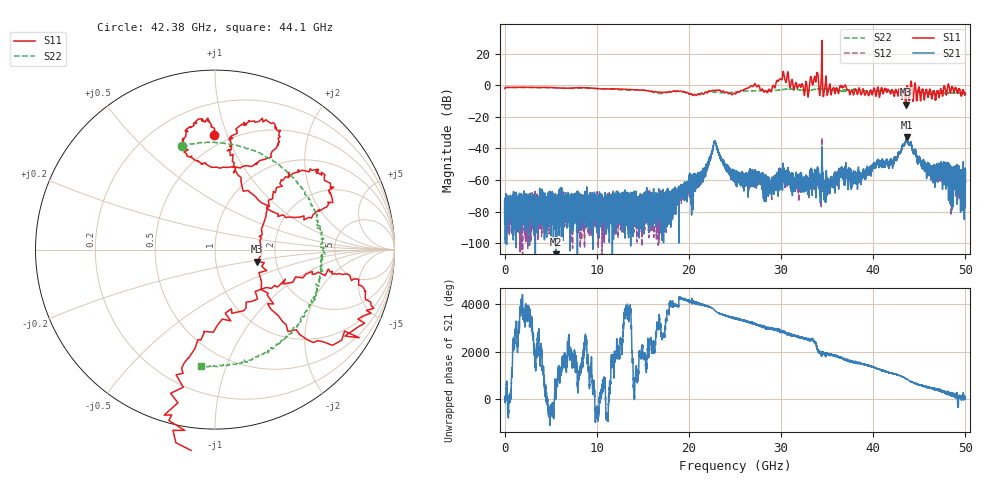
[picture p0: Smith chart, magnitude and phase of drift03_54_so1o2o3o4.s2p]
!Created with skrf (http://scikit-rf.org).
# Hz S RI R 50.0
!freq ReS11 ImS11 ReS21 ImS21 ReS12 ImS12 ReS22 ImS22
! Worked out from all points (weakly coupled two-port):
!   10000 points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, 5.3 MHz to 50 GHz, reference 50 ohm
!   highest |S21| = -32.92 dB at 43.67 GHz (marker M1); lowest = -116.0 dB at 5.555 GHz (marker M2)
!   lowest |S11| = -12.2 dB at 43.53 GHz (marker M3), VSWR 1.65, Z = 79.8 - j11.3 ohm
!   |S11| at or under -10 dB: 43.48394 GHz to 43.55513 GHz (71.2 MHz wide, 0.164 % of centre); 44.31134 GHz to 44.31605 GHz (4.708 MHz wide, 0.0106 % of centre)
!   |S22| runs from -5.9 to -1.3 dB; largest |S21 - S12| = 0.013
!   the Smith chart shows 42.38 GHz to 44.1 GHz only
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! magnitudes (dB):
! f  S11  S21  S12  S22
! 5.3 MHz  -2.1  -74.6  -79.1  -2.1
! 5.555 GHz  -1.6  -116.0  -79.3  -1.7
! 8.34 GHz  -1.5  -74.4  -79.0  -1.9
! 16.67 GHz  -4.4  -69.8  -75.6  -5.2
! 21.22 GHz  -5.9  -57.4  -59.6  -5.3
! 22.82 GHz  -3.4  -35.3  -35.4  -4.5
! 23.9 GHz  -4.7  -50.3  -51.7  -4.8
! 25.01 GHz  -5.5  -55.9  -60.0  -4.3
! 27.02 GHz  -0.4  -59.9  -59.0  -3.5
! 28.76 GHz  -2.6  -67.3  -63.5  -3.5
! 30.14 GHz  4.4  -56.9  -58.9  -2.8
! 32.74 GHz  2.0  -59.2  -59.0  -3.3
! 33.34 GHz  2.7  -60.1  -58.6  -2.9
! 33.82 GHz  4.0  -58.7  -59.5  -2.6
! 34.92 GHz  2.5  -53.9  -60.0  -2.3
! 36.5 GHz  -0.3  -52.7  -54.4  -3.8
! 38.5 GHz  -2.0  -56.3  -57.4  -3.1
! 41.67 GHz  -2.9  -51.9  -50.0  -3.7
! 43.53 GHz  -12.2  -35.4  -35.3  -4.1
! 43.67 GHz  -1.2  -32.9  -33.7  -4.1
! 46.45 GHz  -5.8  -51.2  -54.2  -5.5
! 50 GHz  -5.3  -55.9  -62.7  -5.0
